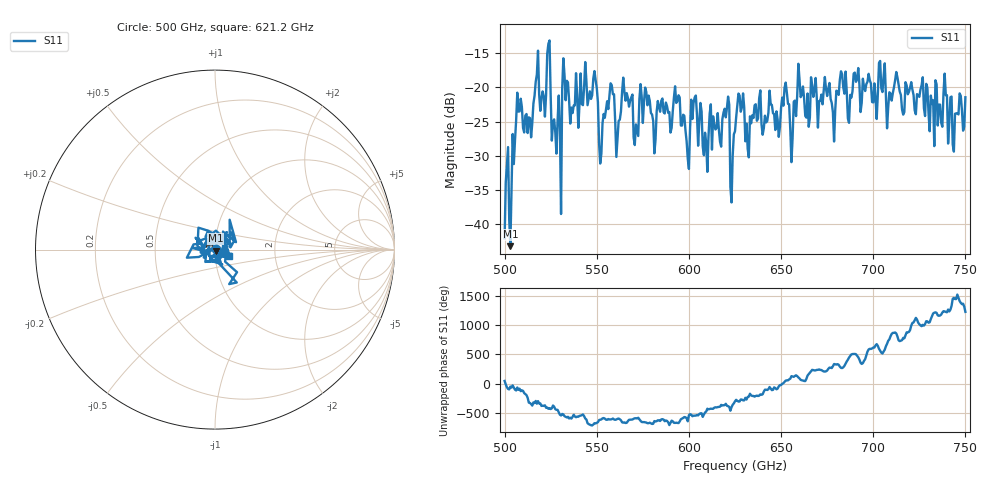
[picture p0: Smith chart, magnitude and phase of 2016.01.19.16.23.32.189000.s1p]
!Created with skrf (http://scikit-rf.org).
# GHz S RI R 50.0
!freq ReS11 ImS11
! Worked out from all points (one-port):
!   401 points, 500 GHz to 750 GHz, reference 50 ohm
!   lowest |S11| = -43.2 dB at 503.1 GHz (marker M1), VSWR 1.01, Z = 50.5 - j0.521 ohm
!   |S11| at or under -10 dB: start of sweep to end of sweep
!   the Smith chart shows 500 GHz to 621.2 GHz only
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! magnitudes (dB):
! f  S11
! 500 GHz  -42.0
! 503.1 GHz  -43.2
! 508.1 GHz  -23.5
! 513.8 GHz  -24.5
! 523.8 GHz  -13.6
! 526.9 GHz  -24.7
! 531.2 GHz  -20.1
! 533.1 GHz  -21.9
! 536.9 GHz  -23.7
! 549.4 GHz  -18.9
! 552.5 GHz  -29.7
! 558.1 GHz  -19.7
! 562.5 GHz  -24.7
! 593.8 GHz  -22.0
! 599.4 GHz  -30.4
! 602.5 GHz  -22.3
! 608.8 GHz  -26.6
! 620.6 GHz  -23.0
! 623.8 GHz  -29.9
! 625 GHz  -26.4
! 651.9 GHz  -20.1
! 656.2 GHz  -27.4
! 660.6 GHz  -21.4
! 664.4 GHz  -20.9
! 687.5 GHz  -21.1
! 690.6 GHz  -19.2
! 718.8 GHz  -21.0
! 750 GHz  -21.4
